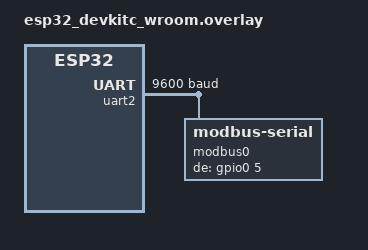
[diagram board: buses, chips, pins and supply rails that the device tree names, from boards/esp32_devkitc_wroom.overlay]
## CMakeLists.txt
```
# SPDX-License-Identifier: Apache-2.0

cmake_minimum_required(VERSION 3.20.0)

find_package(Zephyr REQUIRED HINTS $ENV{ZEPHYR_BASE})
project(modbus-rtu-client)

target_sources(app PRIVATE src/main.c)
```

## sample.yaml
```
sample:
  name: Modbus RTU Client Sample
tests:
  sample.modbus.rtu_client:
    build_only: true
    platform_allow:
      - nrf52840dk_nrf52840
      - frdm_k64f
      - stm32f3_disco
    integration_platforms:
      - nrf52840dk_nrf52840
      - stm32f3_disco
    tags:
      - uart
      - modbus
    depends_on:
      - gpio
      - arduino_serial
      - usart
```

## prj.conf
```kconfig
CONFIG_LOG=y
CONFIG_GPIO=y
CONFIG_SERIAL=y
CONFIG_UART_INTERRUPT_DRIVEN=y
CONFIG_UART_LINE_CTRL=n

CONFIG_MODBUS=y
CONFIG_MODBUS_ROLE_CLIENT=y
```

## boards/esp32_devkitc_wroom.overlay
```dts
/*
 * Copyright (c) 2024 WB LAB
 *
 */

&uart2 {
	status = "okay";
	current-speed = <9600>;

	modbus0 {
		compatible = "zephyr,modbus-serial";
		status = "okay";
		de-gpios = <&gpio0 5 GPIO_ACTIVE_HIGH>;
	};
};
```

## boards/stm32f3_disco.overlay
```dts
/*
 * Copyright (c) 2024 WB LAB
 *
 */

&usart2 {
	status = "okay";
	current-speed = <4800>;

	modbus0 {
		compatible = "zephyr,modbus-serial";
		status = "okay";
		de-gpios = <&gpioa 0 GPIO_ACTIVE_LOW>;
	};
};
```

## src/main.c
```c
/*
 * Copyright (c) 2020 PHYTEC Messtechnik GmbH
 *
 * SPDX-License-Identifier: Apache-2.0
 */
//0x01 0x04 0x03 0xe8 0x00 0x01

#include <zephyr/kernel.h>
#include <zephyr/sys/util.h>
#include <zephyr/drivers/gpio.h>
#include <zephyr/modbus/modbus.h>

#include <zephyr/logging/log.h>
LOG_MODULE_REGISTER(mbc_sample, LOG_LEVEL_INF);

static int client_iface;

const static struct modbus_iface_param client_param = {
	.mode = MODBUS_MODE_RTU,
	.rx_timeout = 5000000,
	.serial = {
		.baud = 9600,
		.parity = UART_CFG_PARITY_NONE,
		.stop_bits_client = UART_CFG_STOP_BITS_1,
	},
};

#define MODBUS_NODE DT_COMPAT_GET_ANY_STATUS_OKAY(zephyr_modbus_serial)

static int init_modbus_client(void)
{
	const char iface_name[] = {DEVICE_DT_NAME(MODBUS_NODE)};

	client_iface = modbus_iface_get_by_name(iface_name);

	return modbus_init_client(client_iface, client_param);
}

int main(void)
{
	uint16_t temperature = 0;
	uint16_t getTempAddress = 0x03E8;
	static uint8_t node = 1;
	
	if (init_modbus_client()) {
		LOG_ERR("Modbus RTU client initialization failed");
		return 0;
	}

	while (true) {
		modbus_read_input_regs(client_iface, node, getTempAddress, &temperature, 1);
		
		printk("Temperature: %d°C\n", temperature);

		k_msleep(1000);
	}
}
```
